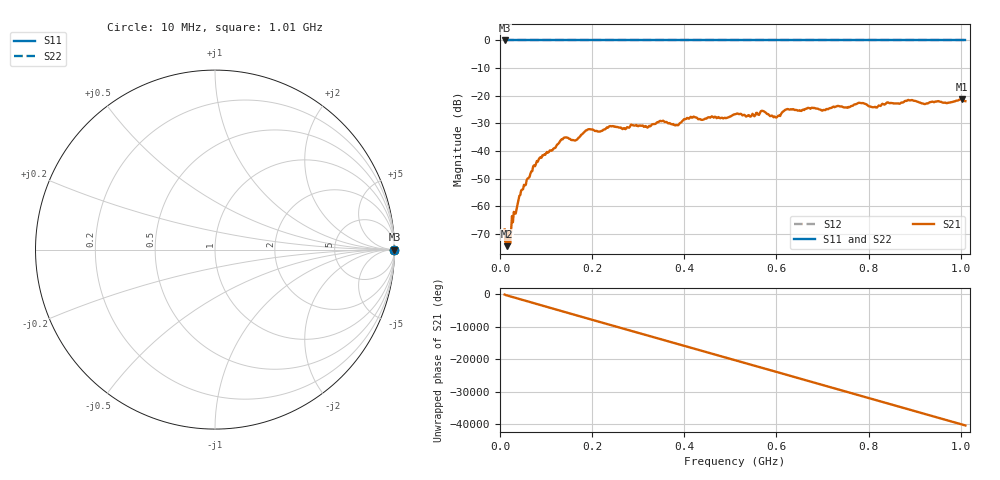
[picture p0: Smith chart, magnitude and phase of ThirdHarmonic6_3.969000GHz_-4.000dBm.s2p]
! 8/17/2025 2:06:34 PM
! C:\ANRITSUVNA\TEMP\TEMP.S2P
! CHANNEL.1
! TR.MEASUREMENT
! RAW.DATA
! RF.CORRECTION.OFF
! AVERAGING.OFF
! IF.BANDWIDTH: 5KHZ
! SWEEPTYPE:  FREQ.SWEEP(Linear)
! Reference Plane Port Info
! PORT:  PORT1  PORT2
! DISTANCE:  0  m  0  m
! TIME:  0  s  0  s
! PHASE.OFFSET:  0  deg.  0  deg.
! LOSS:  0  dB  0  dB
! REF.LOSS:  0  dB  0  dB
! REF.FREQ:  0  Hz  0  Hz
! Power Info
! POWER:  -20  dBm  -20  dBm
! EFF.POWER:  -20  dBm  -20  dBm
! SOURCE.ATTEN:  0  dB  0  dB
! TEST.ATTEN:  0  dB  0  dB
# GHZ S RI R 50.0
! FREQ.GHZ  S11RE  S11IM  S21RE  S21IM  S12RE  S12IM  S22RE  S22IM
!; PortSelection: Port_12
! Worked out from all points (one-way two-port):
!   501 points, 10 MHz to 1.01 GHz, reference 50 ohm
!   highest |S21| = -21.27 dB at 1.002 GHz (marker M1); lowest = -74.4 dB at 16 MHz (marker M2)
!   lowest |S11| = 0.0 dB at 10 MHz (marker M3)
!   |S11| at or under -10 dB: nowhere
!   |S22| runs from 0.0 to 0.0 dB; largest |S21 - S12| = 1.1
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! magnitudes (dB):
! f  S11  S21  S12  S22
! 10 MHz  0.0  -68.4  0.0  0.0
! 16 MHz  0.0  -74.4  0.0  0.0
! 20 MHz  0.0  -69.2  0.0  0.0
! 28 MHz  0.0  -65.7  0.0  0.0
! 44 MHz  0.0  -55.9  0.0  0.0
! 84 MHz  0.0  -43.0  0.0  0.0
! 136 MHz  0.0  -35.8  0.0  0.0
! 164 MHz  0.0  -36.2  0.0  0.0
! 178 MHz  0.0  -33.9  0.0  0.0
! 194 MHz  0.0  -32.1  0.0  0.0
! 322 MHz  0.0  -31.2  0.0  0.0
! 344 MHz  0.0  -29.6  0.0  0.0
! 384 MHz  0.0  -30.6  0.0  0.0
! 416 MHz  0.0  -27.9  0.0  0.0
! 510 MHz  0.0  -26.7  0.0  0.0
! 570 MHz  0.0  -25.5  0.0  0.0
! 598 MHz  0.0  -27.8  0.0  0.0
! 622 MHz  0.0  -24.9  0.0  0.0
! 678 MHz  0.0  -24.3  0.0  0.0
! 844 MHz  0.0  -22.6  0.0  0.0
! 1.002 GHz  0.0  -21.3  0.0  0.0
! 1.01 GHz  0.0  -21.9  0.0  0.0
